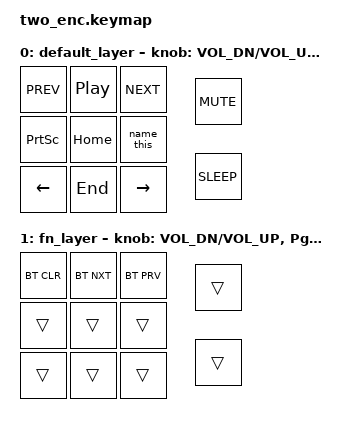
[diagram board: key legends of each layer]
#include <behaviors.dtsi>
#include <dt-bindings/zmk/keys.h>
#include <dt-bindings/zmk/bt.h>

#define DEFAULT 0
#define FUNC    1

/ {
    combos {
        compatible = "zmk,combos";
        combo_bootloader {
            timeout-ms = <50>;
            key-positions = <4 5 6>;
            bindings = <&bootloader>;
        };
        combo_layer {
            timeout-ms = <50>;
            key-positions = <8 9>;
            bindings = <&tog FUNC>;
        };
        combo_studio_unlock {
            timeout-ms = <50>;
            key-positions = <0 1>;
            bindings = <&studio_unlock>;
        };
    };
};

/ {
    macros {
        name_this: name_this {
            compatible = "zmk,behavior-macro";
            #binding-cells = <0>;
            bindings
                = <&macro_press &kp LSHFT>
                , <&macro_tap &kp T &kp H &kp E &kp R &kp M &kp A &kp L>
                , <&macro_release &kp LSHFT>
                ;
        };
    };
};

/ {
    keymap {
        compatible = "zmk,keymap";

        default_layer {
            bindings = <
                &kp C_PREV  &kp C_PLAY_PAUSE  &kp C_NEXT  &kp C_MUTE
                &kp PSCRN   &kp HOME          &name_this
                &kp LEFT    &kp END           &kp RIGHT   &kp C_SLEEP
            >;

            sensor-bindings = <&inc_dec_kp C_VOL_DN C_VOL_UP &inc_dec_kp PG_UP PG_DN>;
        };

        fn_layer {
            bindings = <
                &bt BT_CLR  &bt BT_NXT  &bt BT_PRV  &trans
                &trans      &trans      &trans
                &trans      &trans      &trans      &trans
            >;

            sensor-bindings = <&inc_dec_kp C_VOL_DN C_VOL_UP &inc_dec_kp PG_UP PG_DN>;
        };

        extra1 {
            status = "reserved";
        };
    };
};
